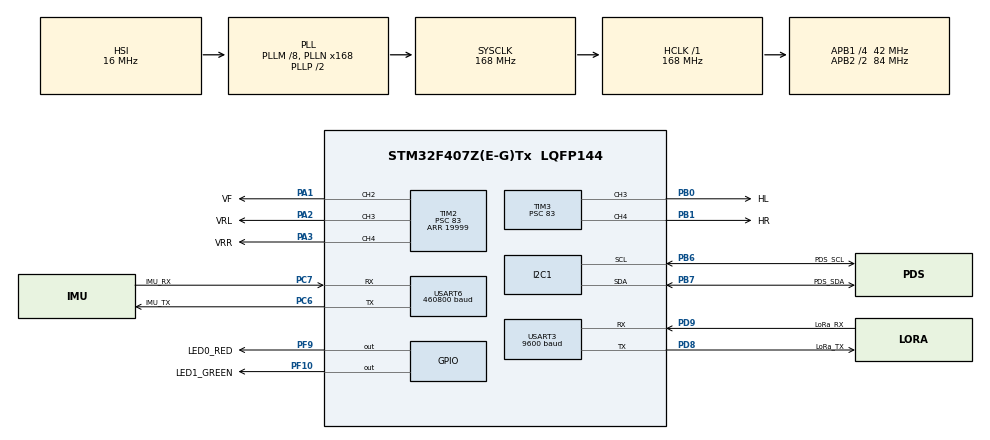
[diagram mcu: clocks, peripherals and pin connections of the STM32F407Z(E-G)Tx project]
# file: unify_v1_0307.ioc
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Dma.I2C1_RX.0.Direction=DMA_PERIPH_TO_MEMORY
Dma.I2C1_RX.0.FIFOMode=DMA_FIFOMODE_DISABLE
Dma.I2C1_RX.0.Instance=DMA1_Stream0
Dma.I2C1_RX.0.MemDataAlignment=DMA_MDATAALIGN_BYTE
Dma.I2C1_RX.0.MemInc=DMA_MINC_ENABLE
Dma.I2C1_RX.0.Mode=DMA_NORMAL
Dma.I2C1_RX.0.PeriphDataAlignment=DMA_PDATAALIGN_BYTE
Dma.I2C1_RX.0.PeriphInc=DMA_PINC_DISABLE
Dma.I2C1_RX.0.Priority=DMA_PRIORITY_MEDIUM
Dma.Request0=I2C1_RX
Dma.Request1=USART6_RX
Dma.Request2=USART3_RX
Dma.Request3=USART3_TX
Dma.USART3_RX.2.Direction=DMA_PERIPH_TO_MEMORY
Dma.USART3_RX.2.FIFOMode=DMA_FIFOMODE_DISABLE
Dma.USART3_RX.2.Instance=DMA1_Stream1
Dma.USART3_RX.2.MemDataAlignment=DMA_MDATAALIGN_BYTE
Dma.USART3_RX.2.MemInc=DMA_MINC_ENABLE
Dma.USART3_RX.2.Mode=DMA_NORMAL
Dma.USART3_RX.2.PeriphDataAlignment=DMA_PDATAALIGN_BYTE
Dma.USART3_RX.2.PeriphInc=DMA_PINC_DISABLE
Dma.USART3_RX.2.Priority=DMA_PRIORITY_VERY_HIGH
Dma.USART3_TX.3.Direction=DMA_MEMORY_TO_PERIPH
Dma.USART3_TX.3.FIFOMode=DMA_FIFOMODE_DISABLE
Dma.USART3_TX.3.Instance=DMA1_Stream3
Dma.USART3_TX.3.MemDataAlignment=DMA_MDATAALIGN_BYTE
Dma.USART3_TX.3.MemInc=DMA_MINC_ENABLE
Dma.USART3_TX.3.Mode=DMA_NORMAL
Dma.USART3_TX.3.PeriphDataAlignment=DMA_PDATAALIGN_BYTE
Dma.USART3_TX.3.PeriphInc=DMA_PINC_DISABLE
Dma.USART3_TX.3.Priority=DMA_PRIORITY_LOW
Dma.USART6_RX.1.Direction=DMA_PERIPH_TO_MEMORY
Dma.USART6_RX.1.FIFOMode=DMA_FIFOMODE_DISABLE
Dma.USART6_RX.1.Instance=DMA2_Stream1
Dma.USART6_RX.1.MemDataAlignment=DMA_MDATAALIGN_BYTE
Dma.USART6_RX.1.MemInc=DMA_MINC_ENABLE
Dma.USART6_RX.1.Mode=DMA_NORMAL
Dma.USART6_RX.1.PeriphDataAlignment=DMA_PDATAALIGN_BYTE
Dma.USART6_RX.1.PeriphInc=DMA_PINC_DISABLE
Dma.USART6_RX.1.Priority=DMA_PRIORITY_HIGH
FREERTOS.BinarySemaphores01=Sem_IMU_Ready,Dynamic,NULL,Available;Sem_LoRa_Rx,Dynamic,NULL,Available
FREERTOS.Mutexes01=Mutex_State,Dynamic,NULL,Available
FREERTOS.Queues01=Queues_Cmd,16,Command_t,0,Dynamic,NULL,NULL
FREERTOS.Tasks01=defaultTask,8,128,StartDefaultTask,Default,NULL,Dynamic,NULL,NULL;Task_Control,48,1024,StartControlTask,As external,NULL,Dynamic,NULL,NULL;Task_Depth,24,512,StartDepthTask,As external,NULL,Dynamic,NULL,NULL;Task_Comms,16,512,StartCommTask,As external,NULL,Dynamic,NULL,NULL
FREERTOS.configENABLE_FPU=1
FREERTOS.configTOTAL_HEAP_SIZE=(24 * 1024)
Mcu.Family=STM32F4
Mcu.Name=STM32F407Z(E-G)Tx
Mcu.Package=LQFP144
NVIC.DMA1_Stream0_IRQn=true\:5\:0\:false\:false\:true\:true\:false\:true\:true
NVIC.DMA1_Stream1_IRQn=true\:5\:0\:false\:false\:true\:true\:false\:true\:true
NVIC.DMA1_Stream3_IRQn=true\:5\:0\:false\:false\:true\:true\:false\:true\:true
NVIC.DMA2_Stream1_IRQn=true\:5\:0\:false\:false\:true\:true\:false\:true\:true
NVIC.I2C1_ER_IRQn=true\:5\:0\:false\:false\:true\:true\:true\:true\:true
NVIC.I2C1_EV_IRQn=true\:6\:0\:true\:false\:true\:true\:true\:true\:true
NVIC.PriorityGroup=NVIC_PRIORITYGROUP_4
NVIC.TIM7_IRQn=true\:15\:0\:false\:false\:true\:false\:false\:true\:true
NVIC.TimeBase=TIM7_IRQn
NVIC.TimeBaseIP=TIM7
NVIC.USART3_IRQn=true\:5\:0\:false\:false\:true\:true\:true\:true\:true
NVIC.USART6_IRQn=true\:5\:0\:true\:false\:true\:true\:true\:true\:true
PA1.GPIO_Label=VF
PA1.Signal=S_TIM2_CH2
PA13.Mode=Serial_Wire
PA13.Signal=SYS_JTMS-SWDIO
PA14.Mode=Serial_Wire
PA14.Signal=SYS_JTCK-SWCLK
PA2.GPIO_Label=VRL
PA2.Signal=S_TIM2_CH3
PA3.GPIO_Label=VRR
PA3.Signal=S_TIM2_CH4
PB0.GPIO_Label=HL
PB0.Signal=S_TIM3_CH3
PB1.GPIO_Label=HR
PB1.Signal=S_TIM3_CH4
PB6.GPIO_Label=PDS_SCL
PB6.Mode=I2C
PB6.Signal=I2C1_SCL
PB7.GPIO_Label=PDS_SDA
PB7.Mode=I2C
PB7.Signal=I2C1_SDA
PC6.GPIO_Label=IMU_TX
PC6.Mode=Asynchronous
PC6.Signal=USART6_TX
PC7.GPIO_Label=IMU_RX
PC7.Mode=Asynchronous
PC7.Signal=USART6_RX
PD8.GPIO_Label=LoRa_TX
PD8.Mode=Asynchronous
PD8.Signal=USART3_TX
PD9.GPIO_Label=LoRa_RX
PD9.Mode=Asynchronous
PD9.Signal=USART3_RX
PF10.GPIO_Label=LED1_GREEN
PF10.Signal=GPIO_Output
PF9.GPIO_Label=LED0_RED
PF9.Signal=GPIO_Output
PH0-OSC_IN.Mode=HSE-External-Oscillator
PH0-OSC_IN.Signal=RCC_OSC_IN
PH1-OSC_OUT.Mode=HSE-External-Oscillator
PH1-OSC_OUT.Signal=RCC_OSC_OUT
ProjectManager.HeapSize=0x200
ProjectManager.StackSize=0x400
ProjectManager.TargetToolchain=CMake
RCC.48MHZClocksFreq_Value=84000000
RCC.AHBFreq_Value=168000000
RCC.APB1CLKDivider=RCC_HCLK_DIV4
RCC.APB1Freq_Value=42000000
RCC.APB1TimFreq_Value=84000000
RCC.APB2CLKDivider=RCC_HCLK_DIV2
RCC.APB2Freq_Value=84000000
RCC.APB2TimFreq_Value=168000000
RCC.CortexFreq_Value=168000000
RCC.HCLKFreq_Value=168000000
RCC.HSE_VALUE=25000000
RCC.HSI_VALUE=16000000
RCC.LSE_VALUE=32768
RCC.PLLM=8
RCC.PLLN=168
RCC.SYSCLKFreq_VALUE=168000000
RCC.SYSCLKSource=RCC_SYSCLKSOURCE_PLLCLK
RCC.VCOOutputFreq_Value=336000000
SH.S_TIM2_CH2.0=TIM2_CH2,PWM Generation2 CH2
SH.S_TIM2_CH3.0=TIM2_CH3,PWM Generation3 CH3
SH.S_TIM2_CH4.0=TIM2_CH4,PWM Generation4 CH4
SH.S_TIM3_CH3.0=TIM3_CH3,PWM Generation3 CH3
SH.S_TIM3_CH4.0=TIM3_CH4,PWM Generation4 CH4
TIM2.AutoReloadPreload=TIM_AUTORELOAD_PRELOAD_ENABLE
TIM2.Channel-PWM\ Generation2\ CH2=TIM_CHANNEL_2
TIM2.Channel-PWM\ Generation3\ CH3=TIM_CHANNEL_3
TIM2.Channel-PWM\ Generation4\ CH4=TIM_CHANNEL_4
TIM2.Period=19999
TIM2.Prescaler=83
TIM2.Pulse-PWM\ Generation2\ CH2=1500
TIM2.Pulse-PWM\ Generation3\ CH3=1500
TIM2.Pulse-PWM\ Generation4\ CH4=1500
TIM3.AutoReloadPreload=TIM_AUTORELOAD_PRELOAD_ENABLE
TIM3.Channel-PWM\ Generation3\ CH3=TIM_CHANNEL_3
TIM3.Channel-PWM\ Generation4\ CH4=TIM_CHANNEL_4
TIM3.Period=19999
TIM3.Prescaler=83
TIM3.Pulse-PWM\ Generation3\ CH3=1500
TIM3.Pulse-PWM\ Generation4\ CH4=1500
USART3.BaudRate=9600
USART3.VirtualMode=VM_ASYNC
USART6.BaudRate=460800
USART6.VirtualMode=VM_ASYNC
VP_FREERTOS_VS_CMSIS_V2.Mode=CMSIS_V2
VP_SYS_VS_tim7.Mode=TIM7
VP_TIM2_VS_ClockSourceINT.Mode=Internal
VP_TIM3_VS_ClockSourceINT.Mode=Internal
board=custom

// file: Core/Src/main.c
/* USER CODE BEGIN Header */
/**
  ******************************************************************************
  * @file           : main.c
  * @brief          : Main program body
  ******************************************************************************
  * @attention
  *
  * Copyright (c) 2026 STMicroelectronics.
  * All rights reserved.
  *
  * This software is licensed under terms that can be found in the LICENSE file
  * in the root directory of this software component.
  * If no LICENSE file comes with this software, it is provided AS-IS.
  *
  ******************************************************************************
  */
/* USER CODE END Header */
#include "main.h"
#include "cmsis_os.h"
#include "dma.h"
#include "i2c.h"
#include "tim.h"
#include "usart.h"
#include "gpio.h"

/* USER CODE BEGIN Includes */
#include "MS5837.h"
/* USER CODE END Includes */

/* USER CODE BEGIN PV */
#include "robot_def.h"

RobotState_t g_robotState = {0}; // 初始化
/* USER CODE END PV */

void SystemClock_Config(void);
void MX_FREERTOS_Init(void);

int main(void)
{

  /* MCU Configuration--------------------------------------------------------*/

  /* Reset of all peripherals, Initializes the Flash interface and the Systick. */
  HAL_Init();

  /* Configure the system clock */
  SystemClock_Config();

  /* Initialize all configured peripherals */
  MX_GPIO_Init();
  MX_DMA_Init();
  MX_I2C1_Init();
  MX_USART6_UART_Init();
  MX_TIM2_Init();
  MX_TIM3_Init();
  MX_USART3_UART_Init();
  /* USER CODE BEGIN 2 */
  // ====== 上电自检: 红+绿同时亮 1 秒 ======
  // 看到这个 = 新固件已成功烧录
  HAL_GPIO_WritePin(LED0_RED_GPIO_Port,   LED0_RED_Pin,   GPIO_PIN_RESET);
  HAL_GPIO_WritePin(LED1_GREEN_GPIO_Port, LED1_GREEN_Pin, GPIO_PIN_RESET);
  HAL_Delay(1000);
  HAL_GPIO_WritePin(LED0_RED_GPIO_Port,   LED0_RED_Pin,   GPIO_PIN_SET);
  HAL_GPIO_WritePin(LED1_GREEN_GPIO_Port, LED1_GREEN_Pin, GPIO_PIN_SET);
  HAL_Delay(200);
  /* USER CODE END 2 */

  /* Init scheduler */
  osKernelInitialize();  /* Call init function for freertos objects (in cmsis_os2.c) */
  MX_FREERTOS_Init();

  /* Start scheduler */
  osKernelStart();

  /* We should never get here as control is now taken by the scheduler */

  /* Infinite loop */
  /* USER CODE BEGIN WHILE */
  while (1)
  {
    HAL_Delay(10000);
    /* USER CODE END WHILE */

  }
}

void SystemClock_Config(void)
{
  RCC_OscInitTypeDef RCC_OscInitStruct = {0};
  RCC_ClkInitTypeDef RCC_ClkInitStruct = {0};

  /** Configure the main internal regulator output voltage
  */
  __HAL_RCC_PWR_CLK_ENABLE();
  __HAL_PWR_VOLTAGESCALING_CONFIG(PWR_REGULATOR_VOLTAGE_SCALE1);

  /** Initializes the RCC Oscillators according to the specified parameters
  * in the RCC_OscInitTypeDef structure.
  */
  RCC_OscInitStruct.OscillatorType = RCC_OSCILLATORTYPE_HSI;
  RCC_OscInitStruct.HSIState = RCC_HSI_ON;
  RCC_OscInitStruct.HSICalibrationValue = RCC_HSICALIBRATION_DEFAULT;
  RCC_OscInitStruct.PLL.PLLState = RCC_PLL_ON;
  RCC_OscInitStruct.PLL.PLLSource = RCC_PLLSOURCE_HSI;
  RCC_OscInitStruct.PLL.PLLM = 8;
  RCC_OscInitStruct.PLL.PLLN = 168;
  RCC_OscInitStruct.PLL.PLLP = RCC_PLLP_DIV2;
  RCC_OscInitStruct.PLL.PLLQ = 4;
  if (HAL_RCC_OscConfig(&RCC_OscInitStruct) != HAL_OK)
  {
    Error_Handler();
  }

  /** Initializes the CPU, AHB and APB buses clocks
  */
  RCC_ClkInitStruct.ClockType = RCC_CLOCKTYPE_HCLK|RCC_CLOCKTYPE_SYSCLK
                              |RCC_CLOCKTYPE_PCLK1|RCC_CLOCKTYPE_PCLK2;
  RCC_ClkInitStruct.SYSCLKSource = RCC_SYSCLKSOURCE_PLLCLK;
  RCC_ClkInitStruct.AHBCLKDivider = RCC_SYSCLK_DIV1;
  RCC_ClkInitStruct.APB1CLKDivider = RCC_HCLK_DIV4;
  RCC_ClkInitStruct.APB2CLKDivider = RCC_HCLK_DIV2;

  if (HAL_RCC_ClockConfig(&RCC_ClkInitStruct, FLASH_LATENCY_5) != HAL_OK)
  {
    Error_Handler();
  }
}

void HAL_TIM_PeriodElapsedCallback(TIM_HandleTypeDef *htim)
{
  if (htim->Instance == TIM7)
  {
    HAL_IncTick();
  }
}

void Error_Handler(void)
{
  /* USER CODE BEGIN Error_Handler_Debug */
  /* User can add his own implementation to report the HAL error return state */
  __disable_irq();
  // Error 指示: 红灯常亮 (低电平点亮, 共阳极接法)
  HAL_GPIO_WritePin(LED0_RED_GPIO_Port, LED0_RED_Pin, GPIO_PIN_RESET);
  HAL_GPIO_WritePin(LED1_GREEN_GPIO_Port, LED1_GREEN_Pin, GPIO_PIN_SET); // 绿灯灭
  while (1)
  {
  }
  /* USER CODE END Error_Handler_Debug */
}

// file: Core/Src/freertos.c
/* USER CODE BEGIN Header */
/**
  ******************************************************************************
  * File Name          : freertos.c
  * Description        : Code for freertos applications
  ******************************************************************************
  * @attention
  *
  * Copyright (c) 2026 STMicroelectronics.
  * All rights reserved.
  *
  * This software is licensed under terms that can be found in the LICENSE file
  * in the root directory of this software component.
  * If no LICENSE file comes with this software, it is provided AS-IS.
  *
  ******************************************************************************
  */
/* USER CODE END Header */

#include "FreeRTOS.h"
#include "task.h"
#include "main.h"
#include "cmsis_os.h"

/* USER CODE BEGIN Includes */
#include "usart.h"
#include "string.h"
#include "robot_def.h"
/* USER CODE END Includes */

/* Definitions for defaultTask */
osThreadId_t defaultTaskHandle;
const osThreadAttr_t defaultTask_attributes = {
  .name = "defaultTask",
  .stack_size = 128 * 4,
  .priority = (osPriority_t) osPriorityLow,
};
/* Definitions for Task_Control */
osThreadId_t Task_ControlHandle;
const osThreadAttr_t Task_Control_attributes = {
  .name = "Task_Control",
  .stack_size = 1024 * 4,
  .priority = (osPriority_t) osPriorityRealtime,
};
/* Definitions for Task_Depth */
osThreadId_t Task_DepthHandle;
const osThreadAttr_t Task_Depth_attributes = {
  .name = "Task_Depth",
  .stack_size = 512 * 4,
  .priority = (osPriority_t) osPriorityNormal,
};
/* Definitions for Task_Comms */
osThreadId_t Task_CommsHandle;
const osThreadAttr_t Task_Comms_attributes = {
  .name = "Task_Comms",
  .stack_size = 512 * 4,
  .priority = (osPriority_t) osPriorityBelowNormal,
};
/* Definitions for Queues_Cmd */
osMessageQueueId_t Queues_CmdHandle;
const osMessageQueueAttr_t Queues_Cmd_attributes = {
  .name = "Queues_Cmd"
};
/* Definitions for Mutex_State */
osMutexId_t Mutex_StateHandle;
const osMutexAttr_t Mutex_State_attributes = {
  .name = "Mutex_State"
};
/* Definitions for Sem_IMU_Ready */
osSemaphoreId_t Sem_IMU_ReadyHandle;
const osSemaphoreAttr_t Sem_IMU_Ready_attributes = {
  .name = "Sem_IMU_Ready"
};
/* Definitions for Sem_LoRa_Rx */
osSemaphoreId_t Sem_LoRa_RxHandle;
const osSemaphoreAttr_t Sem_LoRa_Rx_attributes = {
  .name = "Sem_LoRa_Rx"
};

/* USER CODE BEGIN FunctionPrototypes */
extern char msg[];
/* USER CODE END FunctionPrototypes */

void StartDefaultTask(void *argument);
extern void StartControlTask(void *argument);
extern void StartDepthTask(void *argument);
extern void StartCommTask(void *argument);

void MX_FREERTOS_Init(void); /* (MISRA C 2004 rule 8.1) */

void MX_FREERTOS_Init(void) {
  /* Create the mutex(es) */
  /* creation of Mutex_State */
  Mutex_StateHandle = osMutexNew(&Mutex_State_attributes);

  /* Create the semaphores(s) */
  /* creation of Sem_IMU_Ready */
  Sem_IMU_ReadyHandle = osSemaphoreNew(1, 1, &Sem_IMU_Ready_attributes);

  /* creation of Sem_LoRa_Rx */
  Sem_LoRa_RxHandle = osSemaphoreNew(1, 1, &Sem_LoRa_Rx_attributes);

  /* Create the queue(s) */
  /* creation of Queues_Cmd */
  Queues_CmdHandle = osMessageQueueNew (16, sizeof(Command_t), &Queues_Cmd_attributes);

  /* Create the thread(s) */
  /* creation of defaultTask */
  defaultTaskHandle = osThreadNew(StartDefaultTask, NULL, &defaultTask_attributes);

  /* creation of Task_Control */
  Task_ControlHandle = osThreadNew(StartControlTask, NULL, &Task_Control_attributes);

  /* creation of Task_Depth */
  Task_DepthHandle = osThreadNew(StartDepthTask, NULL, &Task_Depth_attributes);

  /* creation of Task_Comms */
  Task_CommsHandle = osThreadNew(StartCommTask, NULL, &Task_Comms_attributes);

}

void StartDefaultTask(void *argument)
{
  /* USER CODE BEGIN StartDefaultTask */
  // 心跳任务: 绿灯 500ms 闪烁 = FreeRTOS 调度正常
  // LED 共阳极接法: RESET=亮, SET=灭, Toggle 翻转
  for(;;)
  {
    HAL_GPIO_TogglePin(LED1_GREEN_GPIO_Port, LED1_GREEN_Pin);
    osDelay(500);
  }
  /* USER CODE END StartDefaultTask */
}
